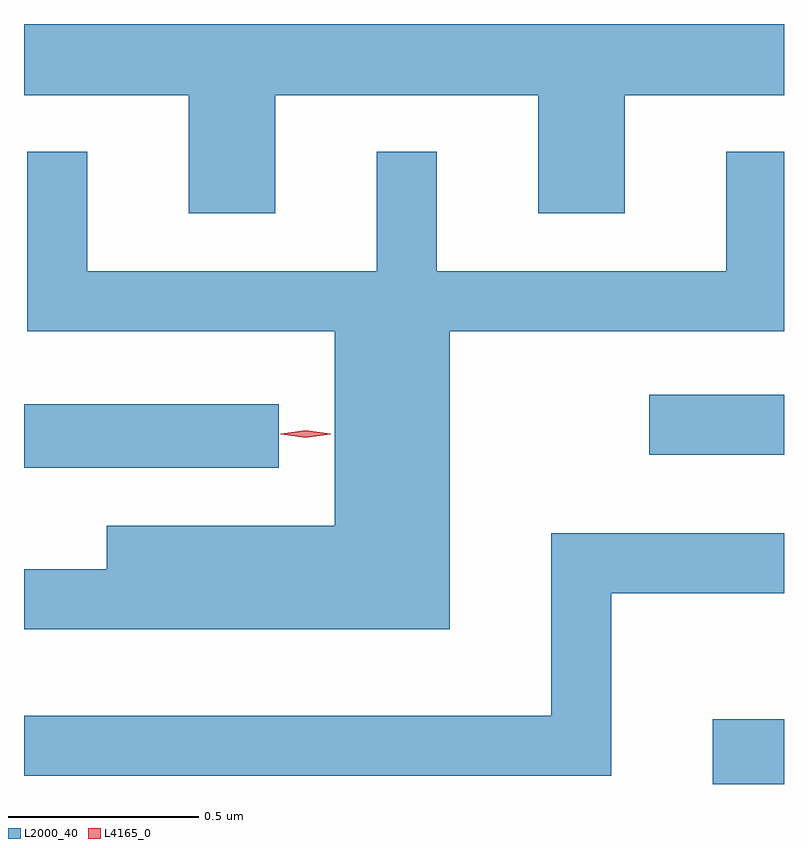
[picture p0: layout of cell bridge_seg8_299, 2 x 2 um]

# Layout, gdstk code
import gdstk
lib = gdstk.Library(unit=1e-6, precision=1e-09)
def R(c, l, rs):  # rectangles x0, y0, x1, y1
    for r in rs: c.add(gdstk.rectangle(r[:2], r[2:], *l))
def P(c, l, *ps):  # polygons
    for p in ps: c.add(gdstk.Polygon(p, *l))
L2000_40 = (2000, 40)
L4165_0 = (4165, 0)

bridge_seg8_299 = lib.new_cell('bridge_seg8_299')
R(bridge_seg8_299, L2000_40, [(1425.441,1821.284,1425.628,1821.454), (1423.628,1822.116,1424.298,1822.284), (1425.273,1822.151,1425.628,1822.309)])
P(bridge_seg8_299, L2000_40, [(1424.289,1823.096),(1424.981,1823.096),(1424.981,1822.786),(1425.209,1822.786),(1425.209,1823.096),(1425.628,1823.096),(1425.628,1823.284),(1423.628,1823.284),(1423.628,1823.096),(1424.061,1823.096),(1424.061,1822.786),(1424.289,1822.786)],
  [(1424.749,1822.476),(1425.628,1822.476),(1425.628,1822.948),(1425.476,1822.948),(1425.476,1822.634),(1424.714,1822.634),(1424.714,1822.948),(1424.556,1822.948),(1424.556,1822.634),(1423.794,1822.634),(1423.794,1822.948),(1423.636,1822.948),(1423.636,1822.476),(1424.446,1822.476),(1424.446,1821.964),(1423.846,1821.964),(1423.846,1821.849),(1423.628,1821.849),(1423.628,1821.691),(1424.749,1821.691)],
  [(1425.174,1821.786),(1425.628,1821.786),(1425.628,1821.944),(1425.016,1821.944),(1425.016,1821.464),(1423.628,1821.464),(1423.628,1821.306),(1425.174,1821.306)])
P(bridge_seg8_299, L4165_0, [(1424.369,1822.195),(1424.303,1822.205),(1424.302,1822.205),(1424.303,1822.206),(1424.369,1822.215),(1424.435,1822.206),(1424.435,1822.206),(1424.435,1822.205)])

lib.write_gds('bridge_seg8_299.gds')
